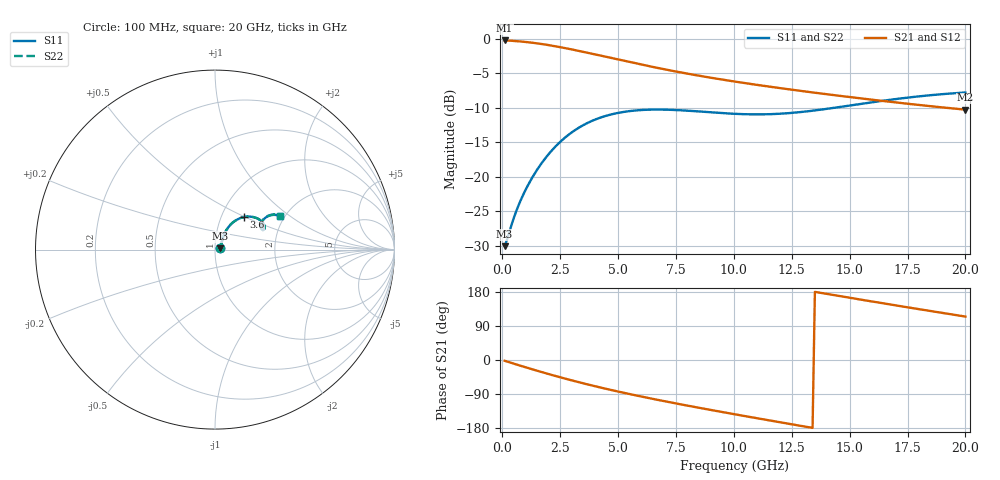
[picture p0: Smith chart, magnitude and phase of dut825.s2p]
! Touchstone file exported from HFSS 2024.1.0
!  File:  C:/UserFiles/LocalFiles/RDL_TSV_Batchsim/temp_RDL_TSV_825_1779916072.aedt
!  Generated:  05:25:48 AM May 28, 2026
!  Design:  RDL_TSV
!  Project:  temp_RDL_TSV_825_1779916072
!  Setup:  Setup1
!  Solution:  Sweep
! Variables:
!  dtsv = 7.66um
!  hbump = 3um
!  htsv = 68.54um
!  ldown = 355.9um
!  lrdl = 655.15um
!  p = 40
!  p1 = 43.24um
!  rhole = 10um
!  subl = 3688.3um
!  t = 450um
!  tdown = 2.59um
!  trdl = 2.62um
!  viad = 10um
!  wdown = 22.5um
!  wrdl = 14.86um
!  xbump = 18um
# GHz S MA R 50.000000
! Terminal data exported
! Port[1] = TM1_1_T1
! Port[2] = TM1_4_T1
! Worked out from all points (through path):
!   200 points, 100 MHz to 20 GHz, reference 50 ohm
!   highest |S21| = -0.27 dB at 100 MHz (marker M1); lowest = -10.3 dB at 20 GHz (marker M2)
!   group delay of S21, straight-line fit = 32.5 ps
!   lowest |S11| = -30.1 dB at 100 MHz (marker M3), VSWR 1.06, Z = 53.1 + j0.819 ohm
!   |S11| at or under -10 dB: start of sweep to 14.39 GHz
!   |S22| runs from -30.1 to -7.8 dB; largest |S21 - S12| = 8.7e-14
!   S11 on the Smith chart (normalised r, x): 100 MHz: 1.06, +0.02; 3.6 GHz: 1.27, +0.49; 20 GHz: 1.89, +0.84
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0.1  0.03138 14.2  0.9695 -2.0  0.9695 -2.0  0.03138 14.2
! Gamma 0 0 0 0
! Port Impedance 50 0 50 0
0.5  0.05039 44.8  0.9619 -9.8  0.9619 -9.8  0.05039 44.8
0.8  0.0678 53.0  0.953 -15.4  0.953 -15.4  0.0678 53.0
1.1  0.08615 57.2  0.942 -21.0  0.942 -21.0  0.08614 57.2
1.5  0.112 59.5  0.924 -28.3  0.924 -28.3  0.112 59.5
2  0.1456 59.2  0.8972 -37.1  0.8972 -37.1  0.1456 59.3
2.5  0.1786 56.9  0.867 -45.6  0.867 -45.6  0.1787 56.9
3  0.2093 53.4  0.8347 -53.8  0.8347 -53.8  0.2094 53.4
3.5  0.2363 49.4  0.8016 -61.6  0.8016 -61.6  0.2365 49.4
3.6  0.2412 48.6  0.795 -63.1  0.795 -63.1  0.2413 48.6
4.3  0.27 42.8  0.7491 -73.5  0.7491 -73.5  0.2702 42.9
5  0.2896 37.4  0.7055 -83.3  0.7055 -83.3  0.2898 37.5
5.9  0.3031 31.5  0.6541 -95.1  0.6541 -95.1  0.3032 31.6
6.8  0.3062 27.0  0.6088 -106.3  0.6088 -106.3  0.3063 27.0
8.4  0.2974 22.6  0.5421 -125.0  0.5421 -125.0  0.2974 22.7
10.1  0.2849 22.9  0.4867 -143.9  0.4867 -143.9  0.2847 23.0
11.7  0.2841 26.3  0.4448 -161.2  0.4448 -161.2  0.2839 26.5
13.4  0.3004 30.3  0.4075 -179.1  0.4075 -179.1  0.3003 30.5
15.1  0.3293 32.2  0.3756 163.3  0.3756 163.3  0.3294 32.5
16.7  0.3596 31.9  0.3493 147.0  0.3493 147.0  0.36 32.2
18.3  0.3863 30.1  0.3265 131.1  0.3265 131.1  0.3871 30.4
20  0.4069 27.3  0.3058 114.6  0.3058 114.6  0.408 27.7
